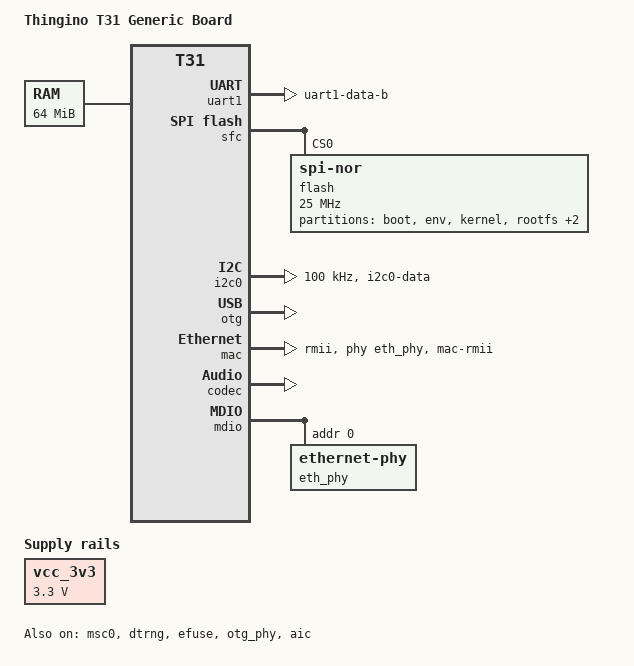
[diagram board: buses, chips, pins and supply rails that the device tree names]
// SPDX-License-Identifier: GPL-2.0
/dts-v1/;

#include <dt-bindings/gpio/gpio.h>
#include "t31.dtsi"

/ {
	compatible = "thingino,t31", "ingenic,t31";
	model = "Thingino T31 Generic Board";

	aliases {
		serial1 = &uart1;
	};

	chosen {
		stdout-path = "serial1:115200n8";
	};

	/* the smallest RAM a T31 comes with; the boot loader's mem= has the real map */
	memory@0 {
		device_type = "memory";
		reg = <0x0 0x4000000>;
	};

	/*
	 * The media memory of the out-of-tree camera stack, where thingino's
	 * U-Boot puts it on this RAM size; its rmem= places and enables it
	 */
	reserved-memory {
		#address-cells = <1>;
		#size-cells = <1>;
		ranges;

		rmem: rmem@2900000 {
			reg = <0x2900000 0x1700000>;
			no-map;
			status = "disabled";
		};
	};
};

&exclk {
	clock-frequency = <24000000>;
};

&uart1 {
	status = "okay";

	pinctrl-names = "default";
	pinctrl-0 = <&pins_uart1>;
};

&tcu {
	/* 750 kHz for the system timer and clocksource; SYSOST is sched_clock */
	assigned-clocks = <&tcu TCU_CLK_TIMER0>, <&tcu TCU_CLK_TIMER1>;
	assigned-clock-rates = <750000>, <750000>;
};

&sfc {
	status = "okay";

	flash@0 {
		compatible = "jedec,spi-nor";
		reg = <0>;
		spi-max-frequency = <25000000>;

		partitions {
			compatible = "fixed-partitions";
			#address-cells = <1>;
			#size-cells = <1>;

			partition@0 {
				label = "boot";
				reg = <0x0 0x40000>;
				read-only;
			};

			partition@40000 {
				label = "env";
				reg = <0x40000 0x10000>;
			};

			partition@50000 {
				label = "kernel";
				reg = <0x50000 0x200000>;
			};

			partition@250000 {
				label = "rootfs";
				reg = <0x250000 0x500000>;
			};

			partition@750000 {
				label = "rootfs_data";
				reg = <0x750000 0xb0000>;
			};

			partition-all@0 {
				label = "all";
				reg = <0x0 0x1000000>;
			};
		};
	};
};

&msc0 {
	status = "okay";
	bus-width = <4>;
	max-frequency = <24000000>;
	/* thingino's T31 default card detect, high with a card in */
	cd-gpios = <&gpb 27 GPIO_ACTIVE_HIGH>;

	pinctrl-names = "default";
	pinctrl-0 = <&pins_mmc0>;
};

&isp {
	/* consumed by the out-of-tree ISP modules, not bound by a driver */
	pinctrl-names = "default";
	pinctrl-0 = <&pins_cim_mclk>;

	memory-region = <&rmem>;
};

&i2c0 {
	status = "okay";
	clock-frequency = <100000>;

	pinctrl-names = "default";
	pinctrl-0 = <&pins_i2c0>;
};

/*
 * PB25/PB26 carry IR-cut or Wi-Fi power on most T31 cameras; a camera that
 * uses I2C1 enables it in its own device tree.
 */
&i2c1 {
	status = "disabled";
	clock-frequency = <100000>;

	pinctrl-names = "default";
	pinctrl-0 = <&pins_i2c1>;
};

&dtrng {
	status = "okay";
};

&efuse {
	status = "okay";
};

/ {
	vcc_3v3: regulator-3v3 {
		compatible = "regulator-fixed";
		regulator-name = "vcc-3v3";
		regulator-min-microvolt = <3300000>;
		regulator-max-microvolt = <3300000>;
		regulator-always-on;
	};
};

&otg_phy {
	status = "okay";

	vcc-supply = <&vcc_3v3>;
};

&otg {
	status = "okay";
	disable-over-current;
};

&mac {
	status = "okay";

	phy-mode = "rmii";
	phy-handle = <&eth_phy>;

	pinctrl-names = "default";
	pinctrl-0 = <&pins_mac>;
};

&aic {
	status = "okay";
};

&codec {
	status = "okay";
};

&mdio {
	eth_phy: ethernet-phy@0 {
		reg = <0>;
	};
};

&pinctrl {
	pins_uart1: uart1 {
		function = "uart1";
		groups = "uart1-data-b";
	};

	pins_mac: mac {
		function = "mac";
		groups = "mac-rmii";
	};

	pins_mmc0: mmc0 {
		function = "mmc0";
		groups = "mmc0-1bit", "mmc0-4bit";
	};

	pins_cim_mclk: cim-mclk {
		function = "cim";
		groups = "cim-mclk";
	};

	pins_i2c0: i2c0 {
		function = "i2c0";
		groups = "i2c0-data";
	};

	pins_i2c1: i2c1 {
		function = "i2c1";
		groups = "i2c1-data-b";
	};
};

&ipu {
	memory-region = <&rmem>;
};
